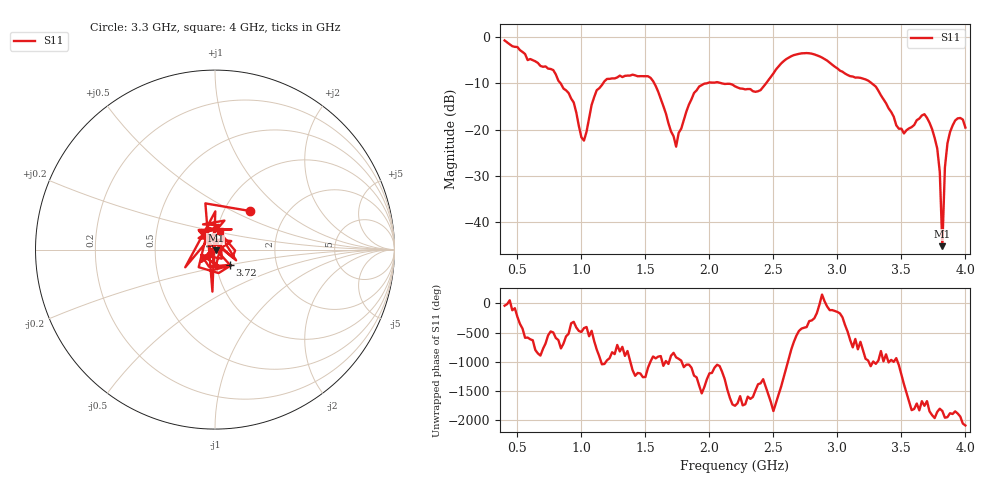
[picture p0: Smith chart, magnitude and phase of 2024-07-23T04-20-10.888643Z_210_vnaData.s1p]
!Created with skrf (http://scikit-rf.org).
# Hz S RI R 50.0
!freq ReS11 ImS11
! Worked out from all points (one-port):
!   181 points, 400 MHz to 4 GHz, reference 50 ohm
!   lowest |S11| = -45.1 dB at 3.82 GHz (marker M1), VSWR 1.01, Z = 50.4 - j0.347 ohm
!   |S11| at or under -10 dB: 1.569 GHz to 1.981 GHz (411.6 MHz wide, 23.2 % of centre); 2.095 GHz to 2.443 GHz (347.7 MHz wide, 15.3 % of centre); 3.268 GHz to end of sweep (the widest 3 of 4)
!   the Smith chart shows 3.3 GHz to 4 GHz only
!   S11 on the Smith chart (normalised r, x): 3.3 GHz: 1.32, +0.62; 3.72 GHz: 1.16, -0.20; 4 GHz: 1.03, +0.21
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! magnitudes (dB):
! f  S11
! 400 MHz  -0.8
! 780 MHz  -7.2
! 860 MHz  -11.1
! 940 MHz  -14.1
! 1.02 GHz  -22.4
! 1.12 GHz  -11.5
! 1.3 GHz  -8.4
! 1.54 GHz  -8.8
! 1.74 GHz  -23.7
! 1.76 GHz  -20.7
! 1.92 GHz  -10.7
! 2.2 GHz  -10.7
! 2.4 GHz  -11.5
! 2.66 GHz  -3.9
! 2.84 GHz  -4.0
! 3.1 GHz  -8.5
! 3.3 GHz  -10.7
! 3.48 GHz  -19.8
! 3.56 GHz  -19.7
! 3.68 GHz  -16.7
! 3.72 GHz  -18.5
! 3.78 GHz  -24.0
! 3.8 GHz  -29.1
! 3.82 GHz  -45.1
! 3.84 GHz  -28.1
! 3.86 GHz  -22.9
! 3.92 GHz  -18.0
! 4 GHz  -19.5
